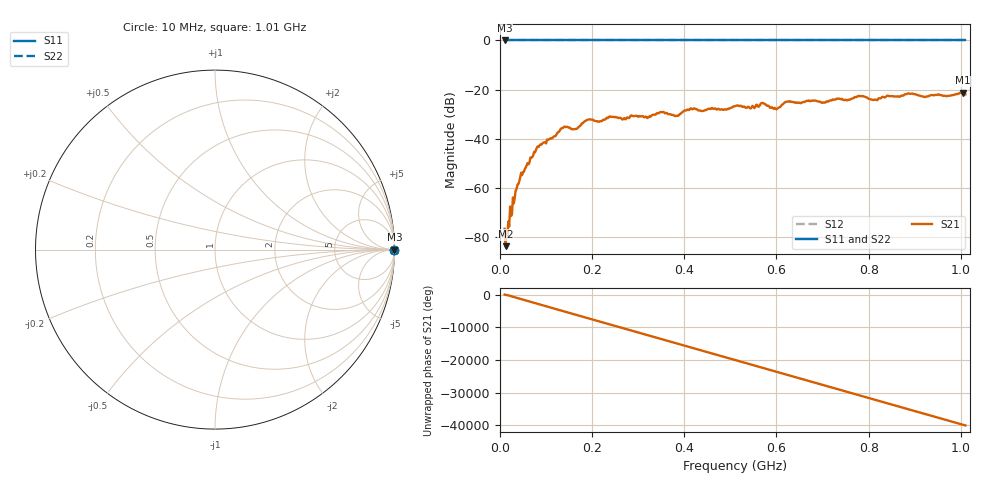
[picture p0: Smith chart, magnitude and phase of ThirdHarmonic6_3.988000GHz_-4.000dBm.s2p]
! 8/17/2025 2:13:05 PM
! C:\ANRITSUVNA\TEMP\TEMP.S2P
! CHANNEL.1
! TR.MEASUREMENT
! RAW.DATA
! RF.CORRECTION.OFF
! AVERAGING.OFF
! IF.BANDWIDTH: 5KHZ
! SWEEPTYPE:  FREQ.SWEEP(Linear)
! Reference Plane Port Info
! PORT:  PORT1  PORT2
! DISTANCE:  0  m  0  m
! TIME:  0  s  0  s
! PHASE.OFFSET:  0  deg.  0  deg.
! LOSS:  0  dB  0  dB
! REF.LOSS:  0  dB  0  dB
! REF.FREQ:  0  Hz  0  Hz
! Power Info
! POWER:  -20  dBm  -20  dBm
! EFF.POWER:  -20  dBm  -20  dBm
! SOURCE.ATTEN:  0  dB  0  dB
! TEST.ATTEN:  0  dB  0  dB
# GHZ S RI R 50.0
! FREQ.GHZ  S11RE  S11IM  S21RE  S21IM  S12RE  S12IM  S22RE  S22IM
!; PortSelection: Port_12
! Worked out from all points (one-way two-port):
!   501 points, 10 MHz to 1.01 GHz, reference 50 ohm
!   highest |S21| = -21.27 dB at 1.004 GHz (marker M1); lowest = -83.7 dB at 12 MHz (marker M2)
!   lowest |S11| = 0.0 dB at 10 MHz (marker M3)
!   |S11| at or under -10 dB: nowhere
!   |S22| runs from 0.0 to 0.0 dB; largest |S21 - S12| = 1.1
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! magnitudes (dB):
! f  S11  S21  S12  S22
! 10 MHz  0.0  -76.6  0.0  0.0
! 12 MHz  0.0  -83.7  0.0  0.0
! 16 MHz  0.0  -80.2  0.0  0.0
! 32 MHz  0.0  -64.0  0.0  0.0
! 42 MHz  0.0  -57.2  0.0  0.0
! 78 MHz  0.0  -44.5  0.0  0.0
! 136 MHz  0.0  -35.6  0.0  0.0
! 164 MHz  0.0  -36.0  0.0  0.0
! 178 MHz  0.0  -33.7  0.0  0.0
! 194 MHz  0.0  -32.1  0.0  0.0
! 322 MHz  0.0  -31.2  0.0  0.0
! 344 MHz  0.0  -29.6  0.0  0.0
! 384 MHz  0.0  -30.6  0.0  0.0
! 418 MHz  0.0  -28.0  0.0  0.0
! 510 MHz  0.0  -26.7  0.0  0.0
! 570 MHz  0.0  -25.4  0.0  0.0
! 598 MHz  0.0  -27.7  0.0  0.0
! 622 MHz  0.0  -24.9  0.0  0.0
! 678 MHz  0.0  -24.5  0.0  0.0
! 844 MHz  0.0  -22.6  0.0  0.0
! 1.004 GHz  0.0  -21.3  0.0  0.0
! 1.01 GHz  0.0  -21.9  0.0  0.0
